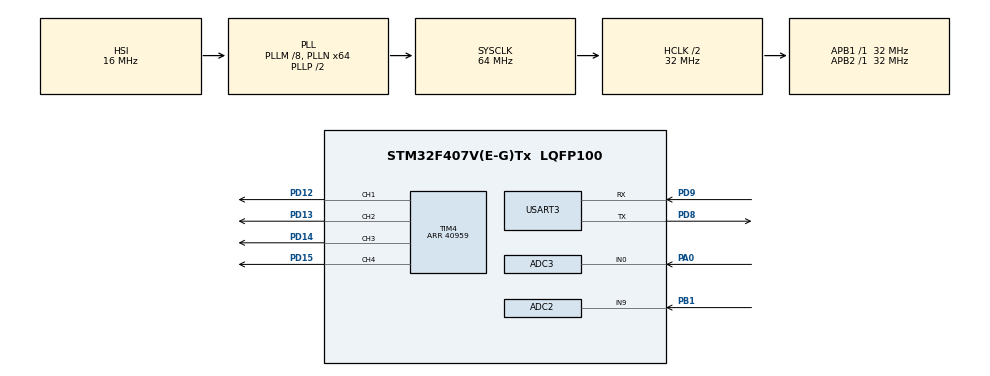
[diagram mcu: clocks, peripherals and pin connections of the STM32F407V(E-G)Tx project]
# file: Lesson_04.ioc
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ADC1.Channel-0\#ChannelRegularConversion=ADC_CHANNEL_TEMPSENSOR
ADC1.ContinuousConvMode=ENABLE
ADC1.NbrOfConversionFlag=1
ADC1.Rank-0\#ChannelRegularConversion=1
ADC1.SamplingTime-0\#ChannelRegularConversion=ADC_SAMPLETIME_480CYCLES
ADC1.master=1
ADC2.Channel-3\#ChannelRegularConversion=ADC_CHANNEL_9
ADC2.NbrOfConversion=1
ADC2.NbrOfConversionFlag=1
ADC2.Rank-3\#ChannelRegularConversion=1
ADC2.SamplingTime-3\#ChannelRegularConversion=ADC_SAMPLETIME_480CYCLES
ADC3.Channel-0\#ChannelRegularConversion=ADC_CHANNEL_0
ADC3.NbrOfConversionFlag=1
ADC3.Rank-0\#ChannelRegularConversion=1
ADC3.SamplingTime-0\#ChannelRegularConversion=ADC_SAMPLETIME_3CYCLES
Mcu.Family=STM32F4
Mcu.Name=STM32F407V(E-G)Tx
Mcu.Package=LQFP100
NVIC.PriorityGroup=NVIC_PRIORITYGROUP_4
NVIC.TIM4_IRQn=true\:0\:0\:false\:false\:true\:true\:true
PA0-WKUP.Signal=ADCx_IN0
PB1.Signal=ADCx_IN9
PD12.Signal=S_TIM4_CH1
PD13.Signal=S_TIM4_CH2
PD14.Signal=S_TIM4_CH3
PD15.Signal=S_TIM4_CH4
PD8.Mode=Asynchronous
PD8.Signal=USART3_TX
PD9.Mode=Asynchronous
PD9.Signal=USART3_RX
ProjectManager.HeapSize=0x200
ProjectManager.StackSize=0x400
ProjectManager.TargetToolchain=STM32CubeIDE
RCC.48MHZClocksFreq_Value=32000000
RCC.AHBCLKDivider=RCC_SYSCLK_DIV2
RCC.AHBFreq_Value=32000000
RCC.APB1Freq_Value=32000000
RCC.APB1TimFreq_Value=32000000
RCC.APB2Freq_Value=32000000
RCC.APB2TimFreq_Value=32000000
RCC.CortexFreq_Value=32000000
RCC.HCLKFreq_Value=32000000
RCC.HSE_VALUE=25000000
RCC.HSI_VALUE=16000000
RCC.LSE_VALUE=32768
RCC.PLLM=8
RCC.PLLN=64
RCC.SYSCLKFreq_VALUE=64000000
RCC.SYSCLKSource=RCC_SYSCLKSOURCE_PLLCLK
RCC.VCOOutputFreq_Value=128000000
SH.ADCx_IN0.0=ADC2_IN0
SH.ADCx_IN0.1=ADC3_IN0,IN0
SH.ADCx_IN9.0=ADC2_IN9,IN9
SH.S_TIM4_CH1.0=TIM4_CH1,PWM Generation1 CH1
SH.S_TIM4_CH2.0=TIM4_CH2,PWM Generation2 CH2
SH.S_TIM4_CH3.0=TIM4_CH3,PWM Generation3 CH3
SH.S_TIM4_CH4.0=TIM4_CH4,PWM Generation4 CH4
TIM4.Channel-PWM\ Generation1\ CH1=TIM_CHANNEL_1
TIM4.Channel-PWM\ Generation2\ CH2=TIM_CHANNEL_2
TIM4.Channel-PWM\ Generation3\ CH3=TIM_CHANNEL_3
TIM4.Channel-PWM\ Generation4\ CH4=TIM_CHANNEL_4
TIM4.Period=40959
USART3.VirtualMode=VM_ASYNC
VP_ADC1_TempSens_Input.Mode=IN-TempSens
VP_TIM4_VS_ClockSourceINT.Mode=Internal
board=custom

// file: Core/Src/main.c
/* USER CODE BEGIN Header */
/**
  ******************************************************************************
  * @file           : main.c
  * @brief          : Main program body
  ******************************************************************************
  * @attention
  *
  * <h2><center>&copy; Copyright (c) 2021 STMicroelectronics.
  * All rights reserved.</center></h2>
  *
  * This software component is licensed by ST under BSD 3-Clause license,
  * the "License"; You may not use this file except in compliance with the
  * License. You may obtain a copy of the License at:
  *                        opensource.org/licenses/BSD-3-Clause
  *
  ******************************************************************************
  */
/* USER CODE END Header */
#include "main.h"

/* USER CODE BEGIN Includes */
#include "string.h"

/* USER CODE END Includes */

/* USER CODE BEGIN PTD */
#define DEBUG 1						// 1 - ON UART port  0 - OFF UART port
#define warningInTemp 38            //warning value of input temperature
#define warningOutTemp 29			//warning value of output temperature
#define warningVoltage 2.5			//warning value of voltage from potentiometer
/* USER CODE END PTD */

ADC_HandleTypeDef hadc1;
ADC_HandleTypeDef hadc2;
ADC_HandleTypeDef hadc3;

TIM_HandleTypeDef htim4;

UART_HandleTypeDef huart3;

void SystemClock_Config(void);
static void MX_GPIO_Init(void);
static void MX_ADC1_Init(void);
static void MX_USART3_UART_Init(void);
static void MX_ADC2_Init(void);
static void MX_ADC3_Init(void);
static void MX_TIM4_Init(void);
/* USER CODE BEGIN PFP */
void PollinADC(void);
void Uart(void);
/* USER CODE END PFP */

/* USER CODE BEGIN 0 */

uint32_t adcValue_InTemp = 0;
uint32_t adcValue_OutTemp = 0;
uint32_t adcValue_Potent = 0;

uint32_t inTemp = 0;
uint32_t outTemp = 0;

uint16_t valueInTemp = 0;
uint16_t valueOutTemp = 0;
uint16_t valuePotent = 0;

double voltage_InTemp = 0;
double voltage_OutTemp = 0;
double voltage_Potent = 0;

int warningLevel = 0;                                  		//warning mode

/* USER CODE END 0 */

int main(void)
{

  /* MCU Configuration--------------------------------------------------------*/

  /* Reset of all peripherals, Initializes the Flash interface and the Systick. */
  HAL_Init();

  /* Configure the system clock */
  SystemClock_Config();

  /* Initialize all configured peripherals */
  MX_GPIO_Init();
  MX_ADC1_Init();
  MX_USART3_UART_Init();
  MX_ADC2_Init();
  MX_ADC3_Init();
  MX_TIM4_Init();
  /* USER CODE BEGIN 2 */
  HAL_TIM_PWM_Start(&htim4, TIM_CHANNEL_1);
  HAL_TIM_PWM_Start(&htim4, TIM_CHANNEL_2);
  HAL_TIM_PWM_Start(&htim4, TIM_CHANNEL_3);
  HAL_TIM_PWM_Start(&htim4, TIM_CHANNEL_4);
  /* USER CODE END 2 */

  /* Infinite loop */
  /* USER CODE BEGIN WHILE */

 while(1)
 {

		PollinADC();

	 	voltage_InTemp = (double)adcValue_InTemp * 3 / 4095;    //convert ADC valueInTemp to voltage
	 	inTemp = (voltage_InTemp - 0.76) / 0.0025 + 25;         //convert voltage in temperature

	 	voltage_OutTemp = (double)adcValue_OutTemp * 5/ 4095;   //convert ADC ValueOutTemp to voltage
	 	outTemp = voltage_OutTemp * 100;						//convert voltage in temperature

	 	voltage_Potent = (double)adcValue_Potent * 3 /4095;		//convert ADC ValuePotent to voltage

	 	valuePotent = adcValue_Potent * 10;						//convert ADC ValuePotent in brightness of the LED

	 	valueOutTemp = adcValue_OutTemp * 418.36 - 63632; 		//convert output temperature (13 to ~30 C) in brightness of the LED

	 	valueInTemp = adcValue_InTemp * 524.68 - 532428;		//convert output temperature (~15 to ~40 C) in brightness of the LED

	 	checkInTemp();
	 	checkOutTemp();
	 	checkPotent();

		if (voltage_Potent > warningVoltage || inTemp > warningInTemp || outTemp > warningOutTemp)
			{
				if ((voltage_Potent > warningVoltage && inTemp > warningInTemp) || (voltage_Potent > warningVoltage && outTemp > warningOutTemp) || (inTemp > warningInTemp && outTemp > warningOutTemp))
				{
					if (voltage_Potent > warningVoltage && inTemp > warningInTemp && outTemp > warningOutTemp)
						{
							warningLevel = 3;
						}
					else
						{
							warningLevel = 2;
						}
				}
				else
					{
						warningLevel = 1;
					}

			}
		else
			{
				warningLevel = 0;
			}

		switch (warningLevel)
			{
				case 1:
				{
					TIM4->CCR3 = 40959;
					TIM4->PSC = 779;					// 1 HZ
				}
				break;

				case 2:
				{
					TIM4->CCR3 = 40959;
					TIM4->PSC = 311;					// 2.5 HZ
				}
				break;

				case 3:
				{
					TIM4->CCR3 = 40959;
					TIM4->PSC = 155;					// 5 HZ
				}
				break;

				default:
				{
					TIM4->CCR3 = 0;
					TIM4->PSC = 0;
				}
				break;
			}

		#ifdef DEBUG == 1

			Uart();

		#endif

    /* USER CODE END WHILE */

  }
}

void SystemClock_Config(void)
{
  RCC_OscInitTypeDef RCC_OscInitStruct = {0};
  RCC_ClkInitTypeDef RCC_ClkInitStruct = {0};

  /** Configure the main internal regulator output voltage
  */
  __HAL_RCC_PWR_CLK_ENABLE();
  __HAL_PWR_VOLTAGESCALING_CONFIG(PWR_REGULATOR_VOLTAGE_SCALE1);
  /** Initializes the RCC Oscillators according to the specified parameters
  * in the RCC_OscInitTypeDef structure.
  */
  RCC_OscInitStruct.OscillatorType = RCC_OSCILLATORTYPE_HSI;
  RCC_OscInitStruct.HSIState = RCC_HSI_ON;
  RCC_OscInitStruct.HSICalibrationValue = RCC_HSICALIBRATION_DEFAULT;
  RCC_OscInitStruct.PLL.PLLState = RCC_PLL_ON;
  RCC_OscInitStruct.PLL.PLLSource = RCC_PLLSOURCE_HSI;
  RCC_OscInitStruct.PLL.PLLM = 8;
  RCC_OscInitStruct.PLL.PLLN = 64;
  RCC_OscInitStruct.PLL.PLLP = RCC_PLLP_DIV2;
  RCC_OscInitStruct.PLL.PLLQ = 4;
  if (HAL_RCC_OscConfig(&RCC_OscInitStruct) != HAL_OK)
  {
    Error_Handler();
  }
  /** Initializes the CPU, AHB and APB buses clocks
  */
  RCC_ClkInitStruct.ClockType = RCC_CLOCKTYPE_HCLK|RCC_CLOCKTYPE_SYSCLK
                              |RCC_CLOCKTYPE_PCLK1|RCC_CLOCKTYPE_PCLK2;
  RCC_ClkInitStruct.SYSCLKSource = RCC_SYSCLKSOURCE_PLLCLK;
  RCC_ClkInitStruct.AHBCLKDivider = RCC_SYSCLK_DIV2;
  RCC_ClkInitStruct.APB1CLKDivider = RCC_HCLK_DIV1;
  RCC_ClkInitStruct.APB2CLKDivider = RCC_HCLK_DIV1;

  if (HAL_RCC_ClockConfig(&RCC_ClkInitStruct, FLASH_LATENCY_1) != HAL_OK)
  {
    Error_Handler();
  }
}

static void MX_ADC1_Init(void)
{

  ADC_ChannelConfTypeDef sConfig = {0};

  /** Configure the global features of the ADC (Clock, Resolution, Data Alignment and number of conversion)
  */
  hadc1.Instance = ADC1;
  hadc1.Init.ClockPrescaler = ADC_CLOCK_SYNC_PCLK_DIV2;
  hadc1.Init.Resolution = ADC_RESOLUTION_12B;
  hadc1.Init.ScanConvMode = DISABLE;
  hadc1.Init.ContinuousConvMode = ENABLE;
  hadc1.Init.DiscontinuousConvMode = DISABLE;
  hadc1.Init.ExternalTrigConvEdge = ADC_EXTERNALTRIGCONVEDGE_NONE;
  hadc1.Init.ExternalTrigConv = ADC_SOFTWARE_START;
  hadc1.Init.DataAlign = ADC_DATAALIGN_RIGHT;
  hadc1.Init.NbrOfConversion = 1;
  hadc1.Init.DMAContinuousRequests = DISABLE;
  hadc1.Init.EOCSelection = ADC_EOC_SINGLE_CONV;
  if (HAL_ADC_Init(&hadc1) != HAL_OK)
  {
    Error_Handler();
  }
  /** Configure for the selected ADC regular channel its corresponding rank in the sequencer and its sample time.
  */
  sConfig.Channel = ADC_CHANNEL_TEMPSENSOR;
  sConfig.Rank = 1;
  sConfig.SamplingTime = ADC_SAMPLETIME_480CYCLES;
  if (HAL_ADC_ConfigChannel(&hadc1, &sConfig) != HAL_OK)
  {
    Error_Handler();
  }

}

static void MX_ADC2_Init(void)
{

  ADC_ChannelConfTypeDef sConfig = {0};

  /** Configure the global features of the ADC (Clock, Resolution, Data Alignment and number of conversion)
  */
  hadc2.Instance = ADC2;
  hadc2.Init.ClockPrescaler = ADC_CLOCK_SYNC_PCLK_DIV2;
  hadc2.Init.Resolution = ADC_RESOLUTION_12B;
  hadc2.Init.ScanConvMode = DISABLE;
  hadc2.Init.ContinuousConvMode = ENABLE;
  hadc2.Init.DiscontinuousConvMode = DISABLE;
  hadc2.Init.ExternalTrigConvEdge = ADC_EXTERNALTRIGCONVEDGE_NONE;
  hadc2.Init.ExternalTrigConv = ADC_SOFTWARE_START;
  hadc2.Init.DataAlign = ADC_DATAALIGN_RIGHT;
  hadc2.Init.NbrOfConversion = 1;
  hadc2.Init.DMAContinuousRequests = DISABLE;
  hadc2.Init.EOCSelection = ADC_EOC_SINGLE_CONV;
  if (HAL_ADC_Init(&hadc2) != HAL_OK)
  {
    Error_Handler();
  }
  /** Configure for the selected ADC regular channel its corresponding rank in the sequencer and its sample time.
  */
  sConfig.Channel = ADC_CHANNEL_9;
  sConfig.Rank = 1;
  sConfig.SamplingTime = ADC_SAMPLETIME_480CYCLES;
  if (HAL_ADC_ConfigChannel(&hadc2, &sConfig) != HAL_OK)
  {
    Error_Handler();
  }

}

static void MX_ADC3_Init(void)
{

  ADC_ChannelConfTypeDef sConfig = {0};

  /** Configure the global features of the ADC (Clock, Resolution, Data Alignment and number of conversion)
  */
  hadc3.Instance = ADC3;
  hadc3.Init.ClockPrescaler = ADC_CLOCK_SYNC_PCLK_DIV2;
  hadc3.Init.Resolution = ADC_RESOLUTION_12B;
  hadc3.Init.ScanConvMode = DISABLE;
  hadc3.Init.ContinuousConvMode = ENABLE;
  hadc3.Init.DiscontinuousConvMode = DISABLE;
  hadc3.Init.ExternalTrigConvEdge = ADC_EXTERNALTRIGCONVEDGE_NONE;
  hadc3.Init.ExternalTrigConv = ADC_SOFTWARE_START;
  hadc3.Init.DataAlign = ADC_DATAALIGN_RIGHT;
  hadc3.Init.NbrOfConversion = 1;
  hadc3.Init.DMAContinuousRequests = DISABLE;
  hadc3.Init.EOCSelection = ADC_EOC_SINGLE_CONV;
  if (HAL_ADC_Init(&hadc3) != HAL_OK)
  {
    Error_Handler();
  }
  /** Configure for the selected ADC regular channel its corresponding rank in the sequencer and its sample time.
  */
  sConfig.Channel = ADC_CHANNEL_0;
  sConfig.Rank = 1;
  sConfig.SamplingTime = ADC_SAMPLETIME_3CYCLES;
  if (HAL_ADC_ConfigChannel(&hadc3, &sConfig) != HAL_OK)
  {
    Error_Handler();
  }

}

static void MX_TIM4_Init(void)
{

  TIM_ClockConfigTypeDef sClockSourceConfig = {0};
  TIM_MasterConfigTypeDef sMasterConfig = {0};
  TIM_OC_InitTypeDef sConfigOC = {0};

  htim4.Instance = TIM4;
  htim4.Init.Prescaler = 0;
  htim4.Init.CounterMode = TIM_COUNTERMODE_UP;
  htim4.Init.Period = 40959;
  htim4.Init.ClockDivision = TIM_CLOCKDIVISION_DIV1;
  htim4.Init.AutoReloadPreload = TIM_AUTORELOAD_PRELOAD_DISABLE;
  if (HAL_TIM_Base_Init(&htim4) != HAL_OK)
  {
    Error_Handler();
  }
  sClockSourceConfig.ClockSource = TIM_CLOCKSOURCE_INTERNAL;
  if (HAL_TIM_ConfigClockSource(&htim4, &sClockSourceConfig) != HAL_OK)
  {
    Error_Handler();
  }
  if (HAL_TIM_PWM_Init(&htim4) != HAL_OK)
  {
    Error_Handler();
  }
  sMasterConfig.MasterOutputTrigger = TIM_TRGO_RESET;
  sMasterConfig.MasterSlaveMode = TIM_MASTERSLAVEMODE_DISABLE;
  if (HAL_TIMEx_MasterConfigSynchronization(&htim4, &sMasterConfig) != HAL_OK)
  {
    Error_Handler();
  }
  sConfigOC.OCMode = TIM_OCMODE_PWM1;
  sConfigOC.Pulse = 0;
  sConfigOC.OCPolarity = TIM_OCPOLARITY_HIGH;
  sConfigOC.OCFastMode = TIM_OCFAST_DISABLE;
  if (HAL_TIM_PWM_ConfigChannel(&htim4, &sConfigOC, TIM_CHANNEL_1) != HAL_OK)
  {
    Error_Handler();
  }
  if (HAL_TIM_PWM_ConfigChannel(&htim4, &sConfigOC, TIM_CHANNEL_2) != HAL_OK)
  {
    Error_Handler();
  }
  if (HAL_TIM_PWM_ConfigChannel(&htim4, &sConfigOC, TIM_CHANNEL_3) != HAL_OK)
  {
    Error_Handler();
  }
  if (HAL_TIM_PWM_ConfigChannel(&htim4, &sConfigOC, TIM_CHANNEL_4) != HAL_OK)
  {
    Error_Handler();
  }
  HAL_TIM_MspPostInit(&htim4);

}

static void MX_USART3_UART_Init(void)
{

  huart3.Instance = USART3;
  huart3.Init.BaudRate = 115200;
  huart3.Init.WordLength = UART_WORDLENGTH_8B;
  huart3.Init.StopBits = UART_STOPBITS_1;
  huart3.Init.Parity = UART_PARITY_NONE;
  huart3.Init.Mode = UART_MODE_TX_RX;
  huart3.Init.HwFlowCtl = UART_HWCONTROL_NONE;
  huart3.Init.OverSampling = UART_OVERSAMPLING_16;
  if (HAL_UART_Init(&huart3) != HAL_OK)
  {
    Error_Handler();
  }

}

static void MX_GPIO_Init(void)
{

  /* GPIO Ports Clock Enable */
  __HAL_RCC_GPIOA_CLK_ENABLE();
  __HAL_RCC_GPIOB_CLK_ENABLE();
  __HAL_RCC_GPIOD_CLK_ENABLE();

}

/* USER CODE BEGIN 4 */

void PollinADC (void)												//get ADC value
{
	volatile HAL_StatusTypeDef adcPoolResult1;
	volatile HAL_StatusTypeDef adcPoolResult2;
	volatile HAL_StatusTypeDef adcPoolResult3;

	HAL_ADC_Start(&hadc1);
	adcPoolResult1 = HAL_ADC_PollForConversion(&hadc1, 1);

	if (adcPoolResult1 == HAL_OK)
	{
	adcValue_InTemp = HAL_ADC_GetValue(&hadc1);
	}

	HAL_ADC_Start(&hadc2);
	adcPoolResult2 = HAL_ADC_PollForConversion(&hadc2, 1);

	if (adcPoolResult2 == HAL_OK)
	{
	adcValue_OutTemp = HAL_ADC_GetValue(&hadc2);
	}

	HAL_ADC_Start(&hadc3);
	adcPoolResult3 = HAL_ADC_PollForConversion(&hadc3, 1);

	if (adcPoolResult3 == HAL_OK)
	{
	adcValue_Potent = HAL_ADC_GetValue(&hadc3);
	}

	HAL_ADC_Stop(&hadc1);
	HAL_ADC_Stop(&hadc2);
	HAL_ADC_Stop(&hadc3);
	HAL_Delay(250);
}

void checkPotent (void)									//check warning mode
{
	if (voltage_Potent > warningVoltage)
	{
		TIM4->CCR4 = 0;
	}
	else
	{
		TIM4->CCR4 = valuePotent;
	}
}

void checkInTemp (void)
{
	if (inTemp > warningInTemp)
	{
		TIM4->CCR2 = 0;
	}
	else
	{
		TIM4->CCR2 = valueInTemp;
	}
}

void checkOutTemp (void)
{
	if (outTemp > warningOutTemp)
	{
		TIM4->CCR1 = 0;
	}
	else
	{
		TIM4->CCR1 = valueOutTemp;
	}
}

void Uart(void)														//UART mode
{
	char a[100];
	char b[100];
	char c[100];
	char d[100];
	char f[100];
	char g[100];
	char h[100];
	char i[100];
	char j[100];
	char x[100];
	char z[100];
	char m[100];

	uint8_t str[] = "------------------------------------\r\n\0";

	sprintf(a, "adcValue_InTemp is %d\r\n", adcValue_InTemp);
	HAL_UART_Transmit(&huart3, a, strlen(a), 500);
	sprintf(b, "voltage_InTemp is %.2f\r\n", voltage_InTemp);
	HAL_UART_Transmit(&huart3, b, strlen(b), 500);
	sprintf(c, "inTemp is %d\r\n", inTemp);
	HAL_UART_Transmit(&huart3, c, strlen(c), 500);

	HAL_UART_Transmit(&huart3, str, strlen(str), 30);

	sprintf(d, "adcValue_OutTemp is %d\r\n", adcValue_OutTemp);
	HAL_UART_Transmit(&huart3, d, strlen(d), 500);
	sprintf(f, "voltage_OutTemp is %.2f\r\n", voltage_OutTemp);
	HAL_UART_Transmit(&huart3, b, strlen(f), 500);
	sprintf(g, "outTemp is %d\r\n", outTemp);
	HAL_UART_Transmit(&huart3, g, strlen(g), 500);

	HAL_UART_Transmit(&huart3, str, strlen(str), 30);

	sprintf(h, "adcValue_Potent is %d\r\n", adcValue_Potent);
	HAL_UART_Transmit(&huart3, h, strlen(h), 500);
	sprintf(i, "voltage_OutTemp is %.2f\r\n", voltage_Potent);
	HAL_UART_Transmit(&huart3, i, strlen(i), 500);
	sprintf(j, "valuPotent is %d\r\n", valuePotent);
	HAL_UART_Transmit(&huart3, j, strlen(j), 500);

	HAL_UART_Transmit(&huart3, str, strlen(str), 30);

	sprintf(m, "value Prescaler for OrangeLed  is %d\r\n", valueInTemp);
	HAL_UART_Transmit(&huart3, m, strlen(m), 500);

	sprintf(x, "value Prescaler for OrangeLed is %d\r\n", valueOutTemp);
	HAL_UART_Transmit(&huart3, x, strlen(x), 500);

	sprintf(z, "!!!WARNING LEVEL!!! %d\r\n", warningLevel);
	HAL_UART_Transmit(&huart3, z, strlen(z), 500);

	HAL_UART_Transmit(&huart3, str, strlen(str), 30);

}
/* USER CODE END 4 */

void Error_Handler(void)
{
  __disable_irq();
  while (1)
  {
  }
}

/************************ (C) COPYRIGHT STMicroelectronics *****END OF FILE****/
